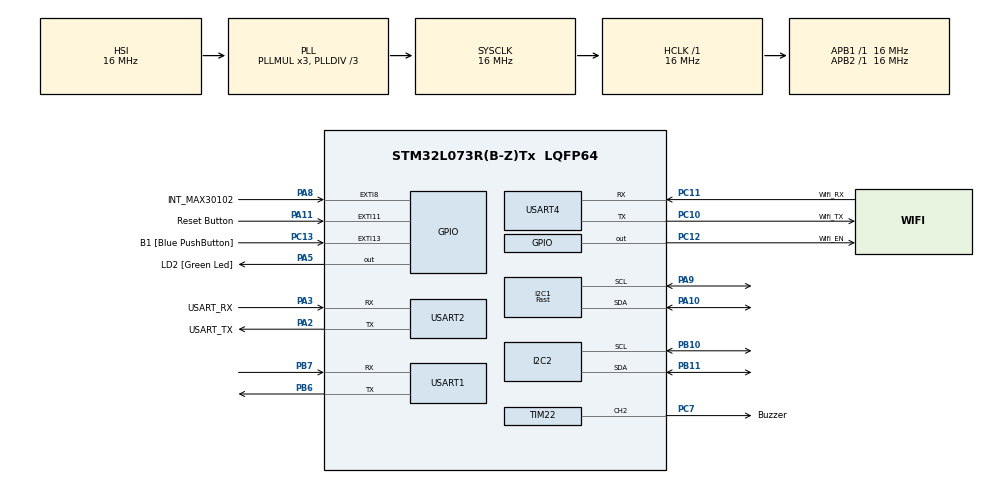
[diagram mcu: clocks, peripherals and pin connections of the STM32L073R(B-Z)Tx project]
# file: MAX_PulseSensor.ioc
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I2C1.I2C_Speed_Mode=I2C_Fast
I2C1.Timing=0x00300617
I2C2.Timing=0x00503D58
Mcu.Family=STM32L0
Mcu.Name=STM32L073R(B-Z)Tx
Mcu.Package=LQFP64
NVIC.EXTI4_15_IRQn=true\:0\:0\:false\:false\:true\:true\:true\:true
PA10.Mode=I2C
PA10.Signal=I2C1_SDA
PA11.GPIO_Label=Reset Button
PA11.GPIO_ModeDefaultEXTI=GPIO_MODE_IT_FALLING
PA11.GPIO_PuPd=GPIO_PULLUP
PA11.Signal=GPXTI11
PA13.GPIO_Label=TMS
PA13.Mode=Serial_Wire
PA13.Signal=SYS_SWDIO
PA14.GPIO_Label=TCK
PA14.Mode=Serial_Wire
PA14.Signal=SYS_SWCLK
PA2.GPIO_Label=USART_TX
PA2.Mode=Asynchronous
PA2.Signal=USART2_TX
PA3.GPIO_Label=USART_RX
PA3.Mode=Asynchronous
PA3.Signal=USART2_RX
PA5.GPIO_Label=LD2 [Green Led]
PA5.Signal=GPIO_Output
PA8.GPIO_Label=INT_MAX30102
PA8.GPIO_ModeDefaultEXTI=GPIO_MODE_IT_FALLING
PA8.GPIO_PuPd=GPIO_PULLUP
PA8.Signal=GPXTI8
PA9.Mode=I2C
PA9.Signal=I2C1_SCL
PB10.Mode=I2C
PB10.Signal=I2C2_SCL
PB11.Mode=I2C
PB11.Signal=I2C2_SDA
PB6.Mode=Asynchronous
PB6.Signal=USART1_TX
PB7.Mode=Asynchronous
PB7.Signal=USART1_RX
PC10.GPIO_Label=Wifi_TX
PC10.Mode=Asynchronous
PC10.Signal=USART4_TX
PC11.GPIO_Label=Wifi_RX
PC11.Mode=Asynchronous
PC11.Signal=USART4_RX
PC12.GPIO_Label=Wifi_EN
PC12.Signal=GPIO_Output
PC13.GPIO_Label=B1 [Blue PushButton]
PC13.GPIO_ModeDefaultEXTI=GPIO_MODE_IT_FALLING
PC13.Signal=GPXTI13
PC14-OSC32_IN.Mode=LSE-External-Oscillator
PC14-OSC32_IN.Signal=RCC_OSC32_IN
PC15-OSC32_OUT.Mode=LSE-External-Oscillator
PC15-OSC32_OUT.Signal=RCC_OSC32_OUT
PC7.GPIO_Label=Buzzer
PC7.Signal=S_TIM22_CH2
PH0-OSC_IN.GPIO_Label=MCO
PH0-OSC_IN.Mode=HSE-External-Clock-Source
PH0-OSC_IN.Signal=RCC_OSC_IN
ProjectManager.HeapSize=0x200
ProjectManager.StackSize=0x400
ProjectManager.TargetToolchain=STM32CubeIDE
RCC.AHBFreq_Value=16000000
RCC.APB1Freq_Value=16000000
RCC.APB1TimFreq_Value=16000000
RCC.APB2Freq_Value=16000000
RCC.APB2TimFreq_Value=16000000
RCC.HCLKFreq_Value=16000000
RCC.HSE_VALUE=8000000
RCC.HSI16_VALUE=16000000
RCC.HSI48_VALUE=48000000
RCC.HSI_VALUE=16000000
RCC.MSI_VALUE=2097000
RCC.PLLDIV=RCC_PLLDIV_3
RCC.SYSCLKFreq_VALUE=16000000
RCC.SYSCLKSource=RCC_SYSCLKSOURCE_PLLCLK
RCC.VCOOutputFreq_Value=48000000
SH.S_TIM22_CH2.0=TIM22_CH2,PWM Generation2 CH2
TIM22.Channel-PWM\ Generation2\ CH2=TIM_CHANNEL_2
TIM22.Period=499
TIM22.Prescaler=15
USART1.VirtualMode-Asynchronous=VM_ASYNC
USART2.VirtualMode-Asynchronous=VM_ASYNC
USART4.VirtualMode-Asynchronous=VM_ASYNC
board=NUCLEO-L073RZ

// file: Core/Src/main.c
/* USER CODE BEGIN Header */
/**
  ******************************************************************************
  * @file           : main.c
  * @brief          : Main program body
  ******************************************************************************
  * @attention
  *
  * Copyright (c) 2026 STMicroelectronics.
  * All rights reserved.
  *
  * This software is licensed under terms that can be found in the LICENSE file
  * in the root directory of this software component.
  * If no LICENSE file comes with this software, it is provided AS-IS.
  *
  ******************************************************************************
  */
/* USER CODE END Header */
#include "main.h"
#include "max30102_for_stm32_hal.h"
#include <stdio.h>
#include "ssd1306.h"
#include "ssd1306_fonts.h"
#include "ssd1306_conf.h"
#include <string.h>

I2C_HandleTypeDef hi2c1;
I2C_HandleTypeDef hi2c2;

TIM_HandleTypeDef htim22;

UART_HandleTypeDef huart1;
UART_HandleTypeDef huart2;
UART_HandleTypeDef huart4;

/* USER CODE BEGIN PV */
max30102_t max30102;
volatile uint32_t g_ir_value = 0;
volatile uint32_t g_red_value = 0;
volatile uint8_t g_new_sample = 0;
uint8_t contact_present = 0;
uint8_t contact_present_prev = 0;
/* latch for pulse */
uint8_t pulse_latched = 0;
/* DC tracking */
uint32_t ir_baseline = 0;
uint32_t red_baseline = 0;
/* raw IR AC components */
int32_t ac_prev2 = 0;
int32_t ac_prev1 = 0;
int32_t ac_curr  = 0;
/* filtered IR AC components */
int32_t ac_filt = 0;
int32_t ac_filt_prev2 = 0;
int32_t ac_filt_prev1 = 0;
int32_t ac_filt_curr  = 0;
/* raw RED AC */
int32_t red_ac_curr = 0;
/* filtered RED AC */
int32_t red_ac_filt = 0;
int32_t red_ac_filt_curr = 0;
/* average AC magnitude for dynamic threshold */
uint32_t ac_abs_avg = 0;
uint32_t red_ac_abs_avg = 0;
int32_t valley_threshold = 120;
uint16_t settle_count = 0;
uint32_t last_beat_time_ms = 0;
uint32_t beat_interval_ms = 0;
uint32_t mean_beat_interval_ms = 0;
uint8_t bpm_inst = 0;
uint8_t bpm_avg = 0;

/* Accumulators for true overall average */
uint32_t total_bpm_sum = 0;
uint16_t total_beat_count = 0;

/* Variables to track boundaries and consecutive readings */
uint8_t reached_70_bpm = 0;
uint8_t consecutive_low_count = 0;
uint8_t consecutive_high_count = 0;

/* Fast recovery timer */
uint32_t recovery_timer_ms = 0;

/* averaging buffer */
uint8_t bpm_hist[8] = {0};
uint8_t bpm_hist_idx = 0;
uint8_t bpm_hist_count = 0;
/* beat-based SpO2, scaled by 10 */
uint16_t spo2_x10 = 0;
/* beat window accumulation */
uint32_t beat_ir_sum = 0;
uint32_t beat_red_sum = 0;
uint16_t beat_sample_count = 0;
uint32_t beat_ir_min = 0xFFFFFFFFU;
uint32_t beat_ir_max = 0U;
uint32_t beat_red_min = 0xFFFFFFFFU;
uint32_t beat_red_max = 0U;
/* lcd displayer */
uint8_t oled_ok = 0;
uint32_t oled_last_update_ms = 0;
/* bpm images interval */
uint8_t ecg_state = 0;
uint32_t ecg_last_toggle_ms = 0;
uint32_t ecg_interval_ms = 500;
/* --- Pulse test state machine --- */
typedef enum
{
    TEST_OFF = 0,
    TEST_RUNNING,
    TEST_SHOW_FINAL_RESULT, /* Added state to show result before WiFi */
    TEST_DONE,
    TEST_WIFI_INIT,
    TEST_WIFI_SENDING
} pulse_test_state_t;
pulse_test_state_t test_state = TEST_OFF;
uint32_t test_start_ms = 0;
#define PULSE_TEST_DURATION_MS 30000U   /* 30 seconds */
/* future button flag (for now simulate) */
volatile uint8_t btn_pressed = 0;

/* Buzzer PWM on TIM22_CH2 / PC7 */
uint8_t buzzer_on = 0;
uint32_t buzzer_last_beat_ms = 0;
uint32_t buzzer_on_start_ms = 0;

#define BUZZER_PULSE_MS   50U
#define BUZZER_PWM_DUTY   250U   /* 50% duty when ARR = 499 */

/* =========================
 * Buzzer melody / BPM logic
 * ========================= */

typedef enum
{
    BUZZER_IDLE = 0,
    BUZZER_MELODY_START,
    BUZZER_RUNNING_BPM,
	BUZZER_END_BEEP,
    BUZZER_MELODY_FINISH
} buzzer_mode_t;

typedef struct
{
    uint16_t freq_hz;
    uint16_t duration_ms;
} buzzer_note_t;

buzzer_mode_t buzzer_mode = BUZZER_IDLE;

uint32_t buzzer_step_start_ms = 0;
uint8_t buzzer_note_index = 0;

uint32_t buzzer_bpm_last_ms = 0;
uint32_t buzzer_bpm_on_start_ms = 0;
uint8_t buzzer_bpm_on = 0;
uint32_t buzzer_beep_start_ms = 0;

/* Für Elise opening motif, shortened */
const buzzer_note_t fur_elise_start[] =
{
    {659, 160},   /* E5  */
    {0,   40},
    {622, 160},   /* D#5 */
    {0,   40},
    {659, 160},   /* E5  */
    {0,   40},
    {622, 160},   /* D#5 */
    {0,   40},
    {659, 160},   /* E5  */
    {0,   40},
    {494, 160},   /* B4  */
    {0,   40},
    {587, 160},   /* D5  */
    {0,   40},
    {523, 160},   /* C5  */
    {0,   40},
    {440, 300}    /* A4  */
};

#define FUR_ELISE_NOTE_COUNT  (sizeof(fur_elise_start) / sizeof(fur_elise_start[0]))
#define BUZZER_BPM_TONE_HZ    2000U

/* USER CODE END PV */

void SystemClock_Config(void);
static void MX_GPIO_Init(void);
static void MX_I2C1_Init(void);
static void MX_USART2_UART_Init(void);
static void MX_I2C2_Init(void);
static void MX_USART1_UART_Init(void);
static void MX_TIM22_Init(void);
static void MX_USART4_UART_Init(void);
/* USER CODE BEGIN PFP */
void OLED_DrawFlatLine(void);
void OLED_DrawPulseLine(void);
void Pulse_Reset(void);

void Buzzer_Off(void);
void Buzzer_SetToneHz(uint32_t freq_hz);
void Buzzer_StartMelodyStart(void);
void Buzzer_StartRunningBpm(void);

void Buzzer_StartEndBeep(void);
void Buzzer_StartMelodyFinish(void);
void Buzzer_Task(void);

/* USER CODE END PFP */

/* USER CODE BEGIN 0 */
extern UART_HandleTypeDef huart4; // USART4 Handle from CubeMX

// --- Wi-Fi & Adafruit Configuration ---
#define WIFI_SSID "YOUR_WIFI_SSID"
#define WIFI_PASS "YOUR_WIFI_PASSWORD"
#define AIO_USERNAME "YOUR_AIO_USERNAME"
#define AIO_KEY "YOUR_AIO_KEY"
#define AIO_FEED_BPM "heartrate" // Replace with your exact feed name

#define ESP_EN_PORT GPIOC
#define ESP_EN_PIN GPIO_PIN_12

char rx_buffer[500];

// Blocking AT command function
uint8_t ESP_SendCommand(char* command, char* expected_response, uint32_t timeout) {
    memset(rx_buffer, 0, sizeof(rx_buffer));
    HAL_UART_Transmit(&huart4, (uint8_t*)command, strlen(command), 100);

    uint32_t start_time = HAL_GetTick();
    uint16_t rx_idx = 0;
    uint8_t temp_char;

    // The CPU gets trapped in this while loop until it gets "OK" or times out
    while ((HAL_GetTick() - start_time) < timeout) {

        // ---> FEEDING THE BUZZER <---
        // Calling this here allows the buzzer logic to check the clock
        // and toggle the hardware timer pins even while waiting for Wi-Fi.
        Buzzer_Task();

        if (HAL_UART_Receive(&huart4, &temp_char, 1, 10) == HAL_OK) {
            if (rx_idx < sizeof(rx_buffer) - 1) {
                rx_buffer[rx_idx++] = temp_char;
                if (strstr(rx_buffer, expected_response) != NULL) {
                    return 1; // Success
                }
            }
        }
    }
    return 0; // Timeout
}
void ESP_PowerOff(void) {
    HAL_GPIO_WritePin(ESP_EN_PORT, ESP_EN_PIN, GPIO_PIN_RESET);
}

void ESP_PowerOn(void) {
    HAL_GPIO_WritePin(ESP_EN_PORT, ESP_EN_PIN, GPIO_PIN_SET);
    HAL_Delay(1500); // Boot-up time for ESP
}
int __io_putchar(int ch)
{
    HAL_UART_Transmit(&huart2, (uint8_t *)&ch, 1, HAL_MAX_DELAY);
    return ch;
}
/* USER CODE END 0 */

int main(void)
{

  /* MCU Configuration--------------------------------------------------------*/

  /* Reset of all peripherals, Initializes the Flash interface and the Systick. */

	HAL_Init();

  /* Configure the system clock */
  SystemClock_Config();

  /* Initialize all configured peripherals */
  MX_GPIO_Init();
  MX_I2C1_Init();
  MX_USART2_UART_Init();
  MX_I2C2_Init();
  MX_USART1_UART_Init();
  MX_TIM22_Init();
  MX_USART4_UART_Init();
  /* USER CODE BEGIN 2 */
  // printf("System start\r\n");
  max30102_init(&max30102, &hi2c1);
  max30102_reset(&max30102);
  HAL_Delay(100);
  max30102_clear_fifo(&max30102);
  max30102_set_fifo_config(&max30102, max30102_smp_ave_8, 1, 7);
  max30102_set_led_pulse_width(&max30102, max30102_pw_16_bit);
  max30102_set_adc_resolution(&max30102, max30102_adc_2048);
  max30102_set_sampling_rate(&max30102, max30102_sr_100);
  /* moderate LED current: stronger than 0.8 mA, still far below the old value */
  max30102_set_led_current_1(&max30102, 4.0f);   /* RED */
  max30102_set_led_current_2(&max30102, 4.0f);   /* IR  */
  max30102_set_mode(&max30102, max30102_spo2);
  max30102_set_a_full(&max30102, 1);
  max30102_set_die_temp_en(&max30102, 1);
  max30102_set_die_temp_rdy(&max30102, 1);

  // printf("OLED init start\r\n");
  if (HAL_I2C_IsDeviceReady(&SSD1306_I2C_PORT, SSD1306_I2C_ADDR, 3, 100) == HAL_OK)
  {
      // printf("OLED found at address 0x%02X\r\n", SSD1306_I2C_ADDR >> 1);
      ssd1306_Init();

      ssd1306_Fill(Black);
      ssd1306_SetCursor(0, 0);
      ssd1306_WriteString("HELLO WORLD", Font_7x10, White);

      ssd1306_SetCursor(0, 16);
      ssd1306_WriteString("OLED OK", Font_7x10, White);

      ssd1306_UpdateScreen();

      oled_ok = 1;
  }
  else
  {
      // printf("OLED not found\r\n");
      oled_ok = 0;
  }
  // printf("MAX30102 configured\r\n");

  /* TEST starts only by button */
  test_state = TEST_OFF;
  Pulse_Reset();
  // printf("TEST READY - PRESS BUTTON\r\n");
  /*Buzzer_StartMelodyStart();*/

  HAL_TIM_PWM_Start(&htim22, TIM_CHANNEL_2);
  __HAL_TIM_SET_COMPARE(&htim22, TIM_CHANNEL_2, 0);

  /* USER CODE END 2 */

  /* Infinite loop */
  while (1)
  {

    /* USER CODE BEGIN 3 */
    /* TEMP: simulate button every few seconds */

	  static uint32_t btn_dbg_last_ms = 0;

	  	  if ((HAL_GetTick() - btn_dbg_last_ms) >= 500U)
	  	  {
	  	      btn_dbg_last_ms = HAL_GetTick();
	  	  }

	  	  if (btn_pressed)
	  	  {
	  	      btn_pressed = 0;

	  	      if ((test_state == TEST_OFF) || (test_state == TEST_DONE))
	  	      {
	  	          test_state = TEST_RUNNING;
	  	          test_start_ms = 0; /* CHANGED: Initialize to 0, wait for valid BPM */
	  	          Pulse_Reset();
	  	          // printf("TEST START BY BUTTON\r\n");
	  	          Buzzer_StartMelodyStart();
	  	      }
	  	      else
	  	      {
	  	          test_state = TEST_OFF;
	  	          Pulse_Reset();
	  	          // printf("TEST STOP BY BUTTON\r\n");
	  	          buzzer_mode = BUZZER_IDLE;
	  	          Buzzer_Off();
	                ESP_PowerOff(); // Ensure Wi-Fi dies if aborted
	  	      }
	  	  }

	  	  if (test_state == TEST_RUNNING)
	  	  {
	  	      /* CHANGED: Start the 30-second timer ONLY on the first valid reading */
	  	      if ((test_start_ms == 0) && (bpm_avg > 0))
	  	      {
	  	          test_start_ms = HAL_GetTick();
	  	      }

	  	      /* CHANGED: Ensure test_start_ms isn't 0 before checking duration */
	  	      if ((test_start_ms != 0) && ((HAL_GetTick() - test_start_ms) >= PULSE_TEST_DURATION_MS))
	  	      {
                  // OVERWRITE EMA WITH TRUE MATHEMATICAL AVERAGE AT TEST END
                  if (total_beat_count > 0)
                  {
                      bpm_avg = (uint8_t)(total_bpm_sum / total_beat_count);
                  }

	  	          if (bpm_avg > 0)
	  	          {
                      /* Change state to show the result on the LCD before starting WiFi */
	  	              test_state = TEST_SHOW_FINAL_RESULT;
                      test_start_ms = HAL_GetTick(); // Reuse test_start_ms as a delay timer

	  	              if (spo2_x10 > 0)
	  	              {
	  	                  // printf("TEST DONE True Avg BPM=%u SpO2=%u.%u%%\r\n", bpm_avg, spo2_x10 / 10U, spo2_x10 % 10U);
	  	              }
                      else
                      {
                          // printf("TEST DONE True Avg BPM=%u SpO2=--.-%%\r\n", bpm_avg);
                      }

                      /* Play the Fur Elise melody instead of the high-pitched beep */
	  	              Buzzer_StartMelodyFinish();
	  	          }
	  	          else
	  	          {
	  	              test_state = TEST_DONE;
	  	              // printf("TEST DONE NO VALID BPM\r\n");
	  	              Buzzer_StartMelodyFinish();
	  	          }
	  	      }
	  	  }
          else if (test_state == TEST_SHOW_FINAL_RESULT)
          {
              /* Wait 5 seconds displaying the final results on OLED before turning on WiFi */
              if ((HAL_GetTick() - test_start_ms) >= 5000U)
              {
                  test_state = TEST_WIFI_INIT;
              }
          }

	        /* --- Wi-Fi State Machine --- */
	        if (test_state == TEST_WIFI_INIT)
	        {
	            printf("Turning on Wi-Fi...\r\n");

	            ESP_PowerOn();

	            ESP_SendCommand("AT\r\n", "OK", 2000);
	            ESP_SendCommand("AT+CWMODE=1\r\n", "OK", 2000);
                ESP_SendCommand("AT+CIPSNTPCFG=1,2,\"pool.ntp.org\"\r\n", "OK", 2000);

	            char cmd[100];
	            snprintf(cmd, sizeof(cmd), "AT+CWJAP=\"%s\",\"%s\"\r\n", WIFI_SSID, WIFI_PASS);
	            printf("Connecting to AP...\r\n");
	            if(ESP_SendCommand(cmd, "OK", 10000)) {
	                printf("Wi-Fi Connected!\r\n");
	                test_state = TEST_WIFI_SENDING;
	            } else {
	                printf("Wi-Fi Connection Failed.\r\n");
	                ESP_PowerOff();
	                test_state = TEST_DONE;
	            }
	        }

	        else if (test_state == TEST_WIFI_SENDING)
	        {
	            printf("Sending to Adafruit...\r\n");

	            char payload[100];
	            snprintf(payload, sizeof(payload), "{\"value\": \"Avg Heartrate: %u, SpO2: %u.%u%%\"}", bpm_avg, spo2_x10 / 10U, spo2_x10 % 10U);

	            char http_req[350];
	            snprintf(http_req, sizeof(http_req),
	                     "POST /api/v2/%s/feeds/%s/data HTTP/1.1\r\n"
	                     "Host: io.adafruit.com\r\n"
	                     "X-AIO-Key: %s\r\n"
	                     "Content-Type: application/json\r\n"
	                     "Content-Length: %d\r\n\r\n"
	                     "%s",
	                     AIO_USERNAME, AIO_FEED_BPM, AIO_KEY, strlen(payload), payload);

	            ESP_SendCommand("AT+CIPSTART=\"TCP\",\"io.adafruit.com\",80\r\n", "OK", 5000);

	            char cip_cmd[30];
	            snprintf(cip_cmd, sizeof(cip_cmd), "AT+CIPSEND=%d\r\n", strlen(http_req));
	            if (ESP_SendCommand(cip_cmd, ">", 2000))
	            {
	                if (ESP_SendCommand(http_req, "SEND OK", 5000)) {
	                    printf("Data sent successfully to Adafruit!\r\n");
	                }
	            }

	            ESP_SendCommand("AT+CIPCLOSE\r\n", "OK", 2000);
	            ESP_PowerOff();
	            printf("Wi-Fi off. Idling.\r\n");

	            test_state = TEST_DONE;
	        }

	      /* OLED periodic BPM / SpO2 display */
	      if ((oled_ok == 1) && ((HAL_GetTick() - oled_last_update_ms) >= 250U))
	      {
	          char line[24];

	          oled_last_update_ms = HAL_GetTick();

	          if (bpm_avg > 0)
	          {
	              ecg_interval_ms = 60000U / bpm_avg / 2U;
	              if (ecg_interval_ms < 120U) ecg_interval_ms = 120U;

	              if ((HAL_GetTick() - ecg_last_toggle_ms) >= ecg_interval_ms)
	              {
	                  ecg_last_toggle_ms = HAL_GetTick();
	                  ecg_state = !ecg_state;
	              }
	          }
	          else { ecg_state = 0; }

	          ssd1306_Fill(Black);
	          ssd1306_SetCursor(0, 0);

	          /* Updated OLED Status Text */
	          if (test_state == TEST_OFF) { ssd1306_WriteString("TEST OFF", Font_7x10, White); }
	          else if (test_state == TEST_RUNNING) { ssd1306_WriteString("TEST RUNNING", Font_7x10, White); }
              else if (test_state == TEST_SHOW_FINAL_RESULT) { ssd1306_WriteString("TEST DONE", Font_7x10, White); }
	          else if (test_state == TEST_WIFI_INIT) { ssd1306_WriteString("WIFI CONNECTING", Font_7x10, White); }
	          else if (test_state == TEST_WIFI_SENDING) { ssd1306_WriteString("SENDING DATA", Font_7x10, White); }
	          else { ssd1306_WriteString("TEST DONE", Font_7x10, White); }

	          ssd1306_SetCursor(0, 14);
	          if (test_state == TEST_OFF) { ssd1306_WriteString("Press START", Font_7x10, White); }
	          else if (test_state == TEST_DONE || test_state == TEST_SHOW_FINAL_RESULT) { ssd1306_WriteString("Final result", Font_7x10, White); }
	          else if (test_state == TEST_WIFI_INIT || test_state == TEST_WIFI_SENDING) { ssd1306_WriteString("Please Wait...", Font_7x10, White); }
	          else
	          {
	              if (contact_present == 0) { ssd1306_WriteString("No contact", Font_7x10, White); }
	              else { ssd1306_WriteString("Contact OK", Font_7x10, White); }
	          }

	          ssd1306_SetCursor(0, 28);
	          if (bpm_avg > 0)
	          {
	              snprintf(line, sizeof(line), "BPM: %u", bpm_avg);
	              ssd1306_WriteString(line, Font_7x10, White);
	          }
	          else { ssd1306_WriteString("BPM: --", Font_7x10, White); }

	          ssd1306_SetCursor(64, 28);
	          if (spo2_x10 > 0)
	          {
	              snprintf(line, sizeof(line), "SpO2:%u.%u%%", spo2_x10 / 10U, spo2_x10 % 10U);
	              ssd1306_WriteString(line, Font_7x10, White);
	          }
	          else { ssd1306_WriteString("SpO2:--.-%", Font_7x10, White); }

	          /* ECG image area: y = 34..63 */
	          if ((contact_present == 1) && (bpm_avg > 0) && (ecg_state == 1) && (test_state == TEST_RUNNING))
	          {
	              OLED_DrawPulseLine();
	          }
	          else
	          {
	              OLED_DrawFlatLine();
	          }

	          ssd1306_UpdateScreen();
	      }

	      /* Buzzer melody / BPM handler */
	      Buzzer_Task();

	      /* MAX30102 handling */
	      max30102_interrupt_handler(&max30102);

	      /* Keep the rest of your MAX30102 logic exactly as it is below this line */
	      if (g_new_sample && (test_state == TEST_RUNNING))
	      {
	      	uint32_t now_ms;
	      	uint8_t i;
	      	uint32_t ac_abs;
	      	uint32_t red_ac_abs;

	          g_new_sample = 0;

	          /* Contact detection with hysteresis + AND logic */
	          if (!contact_present)
	          {
	              if ((g_ir_value > 18000) && (g_red_value > 15000))
	              {
	                  contact_present = 1;
	              }
	          }
	          else
	          {
	              if ((g_ir_value < 9000) && (g_red_value < 7000))
	              {
	                  contact_present = 0;
	              }
	          }

	          /* Detect transition: no contact -> contact */
	          if ((contact_present == 1) && (contact_present_prev == 0))
	          {
	              ir_baseline = g_ir_value;
	              red_baseline = g_red_value;

	              ac_prev2 = 0;
	              ac_prev1 = 0;
	              ac_curr  = 0;

	              ac_filt = 0;
	              ac_filt_prev2 = 0;
	              ac_filt_prev1 = 0;
	              ac_filt_curr  = 0;

	              red_ac_curr = 0;
	              red_ac_filt = 0;
	              red_ac_filt_curr = 0;

	              ac_abs_avg = 0;
	              red_ac_abs_avg = 0;
	              valley_threshold = 120;

	              settle_count = 0;

	              last_beat_time_ms = 0;
	              beat_interval_ms = 0;
	              mean_beat_interval_ms = 0;

	              bpm_inst = 0;
	              bpm_avg = 0;
	              spo2_x10 = 0;

                  total_bpm_sum = 0;
                  total_beat_count = 0;
                  reached_70_bpm = 0; // Reset condition on new contact
                  consecutive_low_count = 0; // Reset counts on new contact
                  consecutive_high_count = 0;
                  recovery_timer_ms = HAL_GetTick(); // Start the recovery timer

	              bpm_hist_idx = 0;
	              bpm_hist_count = 0;

	              pulse_latched = 0;

	              /* reset beat window */
	              beat_ir_sum = 0;
	              beat_red_sum = 0;
	              beat_sample_count = 0;
	              beat_ir_min = 0xFFFFFFFFU;
	              beat_ir_max = 0U;
	              beat_red_min = 0xFFFFFFFFU;
	              beat_red_max = 0U;

	              for (i = 0; i < 8; i++)
	              {
	                  bpm_hist[i] = 0;
	              }
	          }

	          contact_present_prev = contact_present;

	          /* No contact */
	          if (!contact_present)
	          {
	              pulse_latched = 0;
	              bpm_avg = 0;
	              spo2_x10 = 0;

                  total_bpm_sum = 0;
                  total_beat_count = 0;

	              /* reset beat window */
	              beat_ir_sum = 0;
	              beat_red_sum = 0;
	              beat_sample_count = 0;
	              beat_ir_min = 0xFFFFFFFFU;
	              beat_ir_max = 0U;
	              beat_red_min = 0xFFFFFFFFU;
	              beat_red_max = 0U;

	              // printf("IR=%lu RED=%lu No contact\r\n", g_ir_value, g_red_value);
	          }
	          else
	          {
	              /* Slow DC baseline tracking */
	              ir_baseline  = (127 * ir_baseline  + g_ir_value)  / 128;
	              red_baseline = (127 * red_baseline + g_red_value) / 128;

	              /* Raw IR AC */
	              ac_prev2 = ac_prev1;
	              ac_prev1 = ac_curr;
	              ac_curr  = (int32_t)g_ir_value - (int32_t)ir_baseline;

	              /* Raw RED AC */
	              red_ac_curr = (int32_t)g_red_value - (int32_t)red_baseline;

	              /* Integer IIR low-pass on IR AC */
	              ac_filt = (ac_filt + ac_curr) / 2;

	              ac_filt_prev2 = ac_filt_prev1;
	              ac_filt_prev1 = ac_filt_curr;
	              ac_filt_curr  = ac_filt;

	              /* Integer IIR low-pass on RED AC */
	              red_ac_filt = (3 * red_ac_filt + red_ac_curr) / 4;
	              red_ac_filt_curr = red_ac_filt;

	              /* Average absolute filtered AC magnitude */
	              ac_abs = (ac_filt_curr >= 0) ? (uint32_t)ac_filt_curr : (uint32_t)(-ac_filt_curr);
	              red_ac_abs = (red_ac_filt_curr >= 0) ? (uint32_t)red_ac_filt_curr : (uint32_t)(-red_ac_filt_curr);

	              ac_abs_avg = (7 * ac_abs_avg + ac_abs) / 8;
	              red_ac_abs_avg = (7 * red_ac_abs_avg + red_ac_abs) / 8;

	              /* accumulate current beat window for beat-based SpO2 */
	              beat_ir_sum += g_ir_value;
	              beat_red_sum += g_red_value;
	              beat_sample_count++;

	              if (g_ir_value < beat_ir_min)
	              {
	                  beat_ir_min = g_ir_value;
	              }
	              if (g_ir_value > beat_ir_max)
	              {
	                  beat_ir_max = g_ir_value;
	              }

	              if (g_red_value < beat_red_min)
	              {
	                  beat_red_min = g_red_value;
	              }
	              if (g_red_value > beat_red_max)
	              {
	                  beat_red_max = g_red_value;
	              }

	              /* Dynamic threshold */
                  /* RESTORED: Restored threshold divider to 4U (25%) to ignore ripples */
	              valley_threshold = (int32_t)(ac_abs_avg / 4U);

                  /* RESTORED: Restored absolute floor to 25 to ignore false noise spikes */
	              if (valley_threshold < 25)
	              {
	                  valley_threshold = 25;
	              }

	              if (valley_threshold > 500)
	              {
	                  valley_threshold = 500;
	              }

                  /* FAST RECOVERY MECHANISM */
                  // If the baseline filter stays huge for more than 1.5 seconds, the finger placement caused a massive spike.
                  // Hard reset the baseline math so it recovers instantly instead of counting down for 10 seconds.
                  if (ac_filt_curr > 4000)
                  {
                      if ((HAL_GetTick() - recovery_timer_ms) > 1500U)
                      {
                          // printf("FAST RECOVERY TRIGGERED - Resetting baselines\r\n");

                          // Reset baselines to current actuals
                          ir_baseline = g_ir_value;
                          red_baseline = g_red_value;

                          // Flush filters
                          ac_prev2 = ac_prev1 = ac_curr = 0;
                          ac_filt = ac_filt_prev2 = ac_filt_prev1 = ac_filt_curr = 0;
                          red_ac_curr = red_ac_filt = red_ac_filt_curr = 0;

                          // Reset thresholds
                          ac_abs_avg = 0;
                          red_ac_abs_avg = 0;
                          valley_threshold = 50;

                          // Reset the recovery timer
                          recovery_timer_ms = HAL_GetTick();
                      }
                  }
                  else
                  {
                      // If the filter is normal, keep resetting the timer
                      recovery_timer_ms = HAL_GetTick();
                  }

	              /* Settling phase - shortened */
	              if (settle_count < 3)
	              {
	                  settle_count++;
	                  // printf("IR=%lu RED=%lu AC=%ld RED_AC=%ld FILT=%ld TH=%ld settling\r\n",
	                  //        g_ir_value,
	                  //        g_red_value,
	                  //        (long)ac_curr,
	                  //        (long)red_ac_curr,
	                  //        (long)ac_filt_curr,
	                  //        (long)valley_threshold);
	              }
	              else
	              {
	                  now_ms = HAL_GetTick();

	                  /* Valley detection on FILTERED IR AC */
	                  if ((ac_filt_prev1 <= ac_filt_prev2) &&
	                      (ac_filt_prev1 <= ac_filt_curr) &&
	                      (ac_filt_prev1 < -valley_threshold))
	                  {
                        /* CHANGED: Refractory period raised to 400U (max 150 BPM).
                         * This specifically tunes out the 170+ BPM false peaks (Dicrotic Notches).
                         */
	                  	if ((last_beat_time_ms == 0) || ((now_ms - last_beat_time_ms) > 400U))
	                      {
	                          if (last_beat_time_ms != 0)
	                          {
	                              beat_interval_ms = now_ms - last_beat_time_ms;
	                              bpm_inst = (uint8_t)(60000U / beat_interval_ms);

	                              if ((bpm_inst >= 55) && (bpm_inst <= 120))
	                              {
                                      /* Track if we have ever hit >= 70 bpm in this test */
                                      if (bpm_inst >= 70)
                                      {
                                          reached_70_bpm = 1;
                                      }

                                      uint8_t accept_beat = 0;

                                      /* Upper bound check (85 +- 5 = 80 to 90) */
                                      if (bpm_inst >= 85 && bpm_inst <= 95)
                                      {
                                          consecutive_high_count++;
                                          consecutive_low_count = 0;
                                          if (consecutive_high_count >= 3)
                                          {
                                              accept_beat = 1;
                                          }
                                      }
                                      /* Lower bound check (only applies if we already hit 70) (62+-4=62 to 66) */
                                      else if (reached_70_bpm && (bpm_inst >= 60 && bpm_inst <= 66))
                                      {
                                          consecutive_low_count++;
                                          consecutive_high_count = 0;
                                          if (consecutive_low_count >= 3)
                                          {
                                              accept_beat = 1;
                                          }
                                      }
                                      /* Normal valid reading */
                                      else
                                      {
                                          consecutive_high_count = 0;
                                          consecutive_low_count = 0;
                                          accept_beat = 1;
                                      }

                                      if (accept_beat)
                                      {
                                          /* Accumulate for true final average */
                                          total_bpm_sum += bpm_inst;
                                          total_beat_count++;

	                              	      /* EMA on beat interval, not on BPM */
	                              	      if (mean_beat_interval_ms == 0U)
	                              	      {
	                              	          mean_beat_interval_ms = beat_interval_ms;
	                              	      }
	                              	      else
	                              	      {
	                              	          mean_beat_interval_ms =
	                              	              (mean_beat_interval_ms + beat_interval_ms) / 2U;
	                              	      }

	                              	      bpm_avg = (uint8_t)(60000U / mean_beat_interval_ms);

	                              	      // printf("BEAT interval=%lu bpm_inst=%u bpm_avg=%u mean_interval=%lu FILT=%ld TH=%ld\r\n",
	                              	      //        beat_interval_ms,
	                              	      //        bpm_inst,
	                              	      //        bpm_avg,
	                              	      //        mean_beat_interval_ms,
	                              	      //        (long)ac_filt_curr,
	                              	      //        (long)valley_threshold);

	                              	      if (bpm_avg > 0)
	                              	      {
	                              	          pulse_latched = 1;
	                              	      }

	                                        /* beat-based SpO2 calculation */
	                                        if ((beat_sample_count > 5U) &&
	                                            (beat_ir_max > beat_ir_min) &&
	                                            (beat_red_max > beat_red_min))
	                                        {
	                                        	uint32_t ir_dc;
	                                        	    uint32_t red_dc;
	                                        	    uint32_t ir_ac_pp;
	                                        	    uint32_t red_ac_pp;
	                                        	    uint64_t numerator;       /* CHANGED: Upgraded to 64-bit to prevent overflow */
	                                        	    uint32_t denominator;
	                                        	    uint32_t r_x1000;
	                                        	    uint16_t new_spo2_x10;

	                                        	    ir_dc = beat_ir_sum / beat_sample_count;
	                                        	    red_dc = beat_red_sum / beat_sample_count;

	                                        	    ir_ac_pp = beat_ir_max - beat_ir_min;
	                                        	    red_ac_pp = beat_red_max - beat_red_min;

	                                        	    if ((ir_dc > 0U) &&
	                                        	        (red_dc > 0U) &&
	                                        	        (ir_ac_pp > 20U) &&
	                                        	        (red_ac_pp > 10U))
	                                        	    {
	                                        	        /* CHANGED: Cast variables to uint64_t during multiplication */
	                                        	        numerator = (uint64_t)red_ac_pp * (uint64_t)ir_dc * 1000ULL;
	                                        	        denominator = ir_ac_pp * red_dc;

	                                        	        if (denominator > 0U)
	                                        	        {
	                                        	            /* Cast back to 32-bit after the division scales it down */
	                                        	            r_x1000 = (uint32_t)(numerator / (uint64_t)denominator);

	                                        	            if ((r_x1000 > 200U) && (r_x1000 < 1400U))
	                                        	            {
	                                        	                /* CHANGED: Updated to Maxim's standard SpO2 formula: 104 - 17*R */
	                                        	                /* 1040 - (17 * r_x1000 / 100) -> allows one decimal place precision */
	                                        	            	new_spo2_x10 = (uint16_t)(1120U - ((16U * r_x1000) / 100U));

	                                        	                /* Cap the boundaries between 90.0% and 100.0% */
	                                        	                if (new_spo2_x10 > 1000U)
	                                        	                {
	                                        	                    new_spo2_x10 = 1000U;
	                                        	                }
	                                        	                if (new_spo2_x10 < 900U)
	                                        	                {
	                                        	                    new_spo2_x10 = 900U;
	                                        	                }

	                                        	                if (spo2_x10 == 0U)
	                                        	                {
	                                        	                    spo2_x10 = new_spo2_x10;
	                                        	                }
	                                        	                else
	                                        	                {
	                                        	                    /* IIR Filter: 75% old, 25% new */
	                                        	                    spo2_x10 = (uint16_t)((3U * spo2_x10 + new_spo2_x10) / 4U);
	                                        	                }
	                                                    }
	                                                }
	                                            }
	                                        }
                                      }

	                                  /* reset beat window for next beat even if we ignored calculating it */
	                                  beat_ir_sum = 0;
	                                  beat_red_sum = 0;
	                                  beat_sample_count = 0;
	                                  beat_ir_min = 0xFFFFFFFFU;
	                                  beat_ir_max = 0U;
	                                  beat_red_min = 0xFFFFFFFFU;
	                                  beat_red_max = 0U;
	                              }
	                          }

	                          last_beat_time_ms = now_ms;
	                      }
	                  }

	                  if (pulse_latched)
	                  {
	                      if (spo2_x10 > 0)
	                      {
	                          // printf("IR=%lu RED=%lu AC=%ld RED_AC=%ld FILT=%ld TH=%ld BPM=%u SpO2=%u.%u%% Pulse detected\r\n",
	                          //        g_ir_value,
	                          //        g_red_value,
	                          //        (long)ac_curr,
	                          //        (long)red_ac_curr,
	                          //        (long)ac_filt_curr,
	                          //        (long)valley_threshold,
	                          //        bpm_avg,
	                          //        spo2_x10 / 10U,
	                          //        spo2_x10 % 10U);
	                      }
	                      else
	                      {
	                          // printf("IR=%lu RED=%lu AC=%ld RED_AC=%ld FILT=%ld TH=%ld BPM=%u SpO2=--.-%% Pulse detected\r\n",
	                          //        g_ir_value,
	                          //        g_red_value,
	                          //        (long)ac_curr,
	                          //        (long)red_ac_curr,
	                          //        (long)ac_filt_curr,
	                          //        (long)valley_threshold,
	                          //        bpm_avg);
	                      }
	                  }
	                  else
	                  {
	                      // printf("IR=%lu RED=%lu AC=%ld RED_AC=%ld FILT=%ld TH=%ld BPM=%u Contact detected\r\n",
	                      //        g_ir_value,
	                      //        g_red_value,
	                      //        (long)ac_curr,
	                      //        (long)red_ac_curr,
	                      //        (long)ac_filt_curr,
	                      //        (long)valley_threshold,
	                      //        bpm_avg);
	                  }
	              }
	          }
	      }

	      HAL_Delay(10);
  } /* USER CODE END 3 */
}

void SystemClock_Config(void)
{
  RCC_OscInitTypeDef RCC_OscInitStruct = {0};
  RCC_ClkInitTypeDef RCC_ClkInitStruct = {0};
  RCC_PeriphCLKInitTypeDef PeriphClkInit = {0};

  /** Configure the main internal regulator output voltage
  */
  __HAL_PWR_VOLTAGESCALING_CONFIG(PWR_REGULATOR_VOLTAGE_SCALE1);

  /** Initializes the RCC Oscillators according to the specified parameters
  * in the RCC_OscInitTypeDef structure.
  */
  RCC_OscInitStruct.OscillatorType = RCC_OSCILLATORTYPE_HSI;
  RCC_OscInitStruct.HSIState = RCC_HSI_ON;
  RCC_OscInitStruct.HSICalibrationValue = RCC_HSICALIBRATION_DEFAULT;
  RCC_OscInitStruct.PLL.PLLState = RCC_PLL_ON;
  RCC_OscInitStruct.PLL.PLLSource = RCC_PLLSOURCE_HSI;
  RCC_OscInitStruct.PLL.PLLMUL = RCC_PLLMUL_3;
  RCC_OscInitStruct.PLL.PLLDIV = RCC_PLLDIV_3;
  if (HAL_RCC_OscConfig(&RCC_OscInitStruct) != HAL_OK)
  {
    Error_Handler();
  }

  /** Initializes the CPU, AHB and APB buses clocks
  */
  RCC_ClkInitStruct.ClockType = RCC_CLOCKTYPE_HCLK|RCC_CLOCKTYPE_SYSCLK
                              |RCC_CLOCKTYPE_PCLK1|RCC_CLOCKTYPE_PCLK2;
  RCC_ClkInitStruct.SYSCLKSource = RCC_SYSCLKSOURCE_PLLCLK;
  RCC_ClkInitStruct.AHBCLKDivider = RCC_SYSCLK_DIV1;
  RCC_ClkInitStruct.APB1CLKDivider = RCC_HCLK_DIV1;
  RCC_ClkInitStruct.APB2CLKDivider = RCC_HCLK_DIV1;

  if (HAL_RCC_ClockConfig(&RCC_ClkInitStruct, FLASH_LATENCY_0) != HAL_OK)
  {
    Error_Handler();
  }
  PeriphClkInit.PeriphClockSelection = RCC_PERIPHCLK_USART1|RCC_PERIPHCLK_USART2
                              |RCC_PERIPHCLK_I2C1;
  PeriphClkInit.Usart1ClockSelection = RCC_USART1CLKSOURCE_PCLK2;
  PeriphClkInit.Usart2ClockSelection = RCC_USART2CLKSOURCE_PCLK1;
  PeriphClkInit.I2c1ClockSelection = RCC_I2C1CLKSOURCE_PCLK1;
  if (HAL_RCCEx_PeriphCLKConfig(&PeriphClkInit) != HAL_OK)
  {
    Error_Handler();
  }
}

static void MX_I2C1_Init(void)
{

  hi2c1.Instance = I2C1;
  hi2c1.Init.Timing = 0x00300617;
  hi2c1.Init.OwnAddress1 = 0;
  hi2c1.Init.AddressingMode = I2C_ADDRESSINGMODE_7BIT;
  hi2c1.Init.DualAddressMode = I2C_DUALADDRESS_DISABLE;
  hi2c1.Init.OwnAddress2 = 0;
  hi2c1.Init.OwnAddress2Masks = I2C_OA2_NOMASK;
  hi2c1.Init.GeneralCallMode = I2C_GENERALCALL_DISABLE;
  hi2c1.Init.NoStretchMode = I2C_NOSTRETCH_DISABLE;
  if (HAL_I2C_Init(&hi2c1) != HAL_OK)
  {
    Error_Handler();
  }

  /** Configure Analogue filter
  */
  if (HAL_I2CEx_ConfigAnalogFilter(&hi2c1, I2C_ANALOGFILTER_ENABLE) != HAL_OK)
  {
    Error_Handler();
  }

  /** Configure Digital filter
  */
  if (HAL_I2CEx_ConfigDigitalFilter(&hi2c1, 0) != HAL_OK)
  {
    Error_Handler();
  }

}

static void MX_I2C2_Init(void)
{

  hi2c2.Instance = I2C2;
  hi2c2.Init.Timing = 0x00503D58;
  hi2c2.Init.OwnAddress1 = 0;
  hi2c2.Init.AddressingMode = I2C_ADDRESSINGMODE_7BIT;
  hi2c2.Init.DualAddressMode = I2C_DUALADDRESS_DISABLE;
  hi2c2.Init.OwnAddress2 = 0;
  hi2c2.Init.OwnAddress2Masks = I2C_OA2_NOMASK;
  hi2c2.Init.GeneralCallMode = I2C_GENERALCALL_DISABLE;
  hi2c2.Init.NoStretchMode = I2C_NOSTRETCH_DISABLE;
  if (HAL_I2C_Init(&hi2c2) != HAL_OK)
  {
    Error_Handler();
  }

  /** Configure Analogue filter
  */
  if (HAL_I2CEx_ConfigAnalogFilter(&hi2c2, I2C_ANALOGFILTER_ENABLE) != HAL_OK)
  {
    Error_Handler();
  }

  /** Configure Digital filter
  */
  if (HAL_I2CEx_ConfigDigitalFilter(&hi2c2, 0) != HAL_OK)
  {
    Error_Handler();
  }

}

static void MX_TIM22_Init(void)
{

  TIM_MasterConfigTypeDef sMasterConfig = {0};
  TIM_OC_InitTypeDef sConfigOC = {0};

  htim22.Instance = TIM22;
  htim22.Init.Prescaler = 15;
  htim22.Init.CounterMode = TIM_COUNTERMODE_UP;
  htim22.Init.Period = 499;
  htim22.Init.ClockDivision = TIM_CLOCKDIVISION_DIV1;
  htim22.Init.AutoReloadPreload = TIM_AUTORELOAD_PRELOAD_DISABLE;
  if (HAL_TIM_PWM_Init(&htim22) != HAL_OK)
  {
    Error_Handler();
  }
  sMasterConfig.MasterOutputTrigger = TIM_TRGO_RESET;
  sMasterConfig.MasterSlaveMode = TIM_MASTERSLAVEMODE_DISABLE;
  if (HAL_TIMEx_MasterConfigSynchronization(&htim22, &sMasterConfig) != HAL_OK)
  {
    Error_Handler();
  }
  sConfigOC.OCMode = TIM_OCMODE_PWM1;
  sConfigOC.Pulse = 0;
  sConfigOC.OCPolarity = TIM_OCPOLARITY_HIGH;
  sConfigOC.OCFastMode = TIM_OCFAST_DISABLE;
  if (HAL_TIM_PWM_ConfigChannel(&htim22, &sConfigOC, TIM_CHANNEL_2) != HAL_OK)
  {
    Error_Handler();
  }
  HAL_TIM_MspPostInit(&htim22);

}

static void MX_USART1_UART_Init(void)
{

  huart1.Instance = USART1;
  huart1.Init.BaudRate = 115200;
  huart1.Init.WordLength = UART_WORDLENGTH_8B;
  huart1.Init.StopBits = UART_STOPBITS_1;
  huart1.Init.Parity = UART_PARITY_NONE;
  huart1.Init.Mode = UART_MODE_TX_RX;
  huart1.Init.HwFlowCtl = UART_HWCONTROL_NONE;
  huart1.Init.OverSampling = UART_OVERSAMPLING_16;
  huart1.Init.OneBitSampling = UART_ONE_BIT_SAMPLE_DISABLE;
  huart1.AdvancedInit.AdvFeatureInit = UART_ADVFEATURE_NO_INIT;
  if (HAL_UART_Init(&huart1) != HAL_OK)
  {
    Error_Handler();
  }

}

static void MX_USART2_UART_Init(void)
{

  huart2.Instance = USART2;
  huart2.Init.BaudRate = 115200;
  huart2.Init.WordLength = UART_WORDLENGTH_8B;
  huart2.Init.StopBits = UART_STOPBITS_1;
  huart2.Init.Parity = UART_PARITY_NONE;
  huart2.Init.Mode = UART_MODE_TX_RX;
  huart2.Init.HwFlowCtl = UART_HWCONTROL_NONE;
  huart2.Init.OverSampling = UART_OVERSAMPLING_16;
  huart2.Init.OneBitSampling = UART_ONE_BIT_SAMPLE_DISABLE;
  huart2.AdvancedInit.AdvFeatureInit = UART_ADVFEATURE_NO_INIT;
  if (HAL_UART_Init(&huart2) != HAL_OK)
  {
    Error_Handler();
  }

}

static void MX_USART4_UART_Init(void)
{

  huart4.Instance = USART4;
  huart4.Init.BaudRate = 115200;
  huart4.Init.WordLength = UART_WORDLENGTH_8B;
  huart4.Init.StopBits = UART_STOPBITS_1;
  huart4.Init.Parity = UART_PARITY_NONE;
  huart4.Init.Mode = UART_MODE_TX_RX;
  huart4.Init.HwFlowCtl = UART_HWCONTROL_NONE;
  huart4.Init.OverSampling = UART_OVERSAMPLING_16;
  huart4.Init.OneBitSampling = UART_ONE_BIT_SAMPLE_DISABLE;
  huart4.AdvancedInit.AdvFeatureInit = UART_ADVFEATURE_NO_INIT;
  if (HAL_UART_Init(&huart4) != HAL_OK)
  {
    Error_Handler();
  }

}

static void MX_GPIO_Init(void)
{
  GPIO_InitTypeDef GPIO_InitStruct = {0};

  /* GPIO Ports Clock Enable */
  __HAL_RCC_GPIOC_CLK_ENABLE();
  __HAL_RCC_GPIOH_CLK_ENABLE();
  __HAL_RCC_GPIOA_CLK_ENABLE();
  __HAL_RCC_GPIOB_CLK_ENABLE();

  /*Configure GPIO pin Output Level */
  HAL_GPIO_WritePin(LD2_GPIO_Port, LD2_Pin, GPIO_PIN_RESET);

  /*Configure GPIO pin Output Level */
  HAL_GPIO_WritePin(Wifi_EN_GPIO_Port, Wifi_EN_Pin, GPIO_PIN_RESET);

  /*Configure GPIO pin : B1_Pin */
  GPIO_InitStruct.Pin = B1_Pin;
  GPIO_InitStruct.Mode = GPIO_MODE_IT_FALLING;
  GPIO_InitStruct.Pull = GPIO_NOPULL;
  HAL_GPIO_Init(B1_GPIO_Port, &GPIO_InitStruct);

  /*Configure GPIO pin : LD2_Pin */
  GPIO_InitStruct.Pin = LD2_Pin;
  GPIO_InitStruct.Mode = GPIO_MODE_OUTPUT_PP;
  GPIO_InitStruct.Pull = GPIO_NOPULL;
  GPIO_InitStruct.Speed = GPIO_SPEED_FREQ_LOW;
  HAL_GPIO_Init(LD2_GPIO_Port, &GPIO_InitStruct);

  /*Configure GPIO pins : INT_MAX30102_Pin Reset_Button_Pin */
  GPIO_InitStruct.Pin = INT_MAX30102_Pin|Reset_Button_Pin;
  GPIO_InitStruct.Mode = GPIO_MODE_IT_FALLING;
  GPIO_InitStruct.Pull = GPIO_PULLUP;
  HAL_GPIO_Init(GPIOA, &GPIO_InitStruct);

  /*Configure GPIO pin : Wifi_EN_Pin */
  GPIO_InitStruct.Pin = Wifi_EN_Pin;
  GPIO_InitStruct.Mode = GPIO_MODE_OUTPUT_PP;
  GPIO_InitStruct.Pull = GPIO_NOPULL;
  GPIO_InitStruct.Speed = GPIO_SPEED_FREQ_LOW;
  HAL_GPIO_Init(Wifi_EN_GPIO_Port, &GPIO_InitStruct);

  /* EXTI interrupt init*/
  HAL_NVIC_SetPriority(EXTI4_15_IRQn, 0, 0);
  HAL_NVIC_EnableIRQ(EXTI4_15_IRQn);

}

/* USER CODE BEGIN 4 */
/* lcd bpm drawings */
void OLED_DrawFlatLine(void)
{
    ssd1306_Line(0, 56, 127, 56, White);
}

void OLED_DrawPulseLine(void)
{
    /* Left flat part */
    ssd1306_Line(0, 56, 35, 56, White);
    /* Small rise */
    ssd1306_Line(35, 56, 42, 48, White);
    /* Drop */
    ssd1306_Line(42, 48, 52, 63, White);
    /* Big peak */
    ssd1306_Line(52, 63, 66, 34, White);
    /* Fall after peak */
    ssd1306_Line(66, 34, 76, 60, White);
    /* Recovery */
    ssd1306_Line(76, 60, 95, 48, White);
    /* Back to flat */
    ssd1306_Line(95, 48, 105, 56, White);
    ssd1306_Line(105, 56, 127, 56, White);
}

void max30102_plot(uint32_t ir, uint32_t red)
{
    g_ir_value = ir;
    g_red_value = red;
    g_new_sample = 1;
}

void HAL_GPIO_EXTI_Callback(uint16_t GPIO_Pin)
{
    static uint32_t last_reset_btn_ms = 0;
    uint32_t now_ms;

    if (GPIO_Pin == INT_MAX30102_Pin)
    {
        max30102_on_interrupt(&max30102);
    }
    else if (GPIO_Pin == Reset_Button_Pin)
    {
        now_ms = HAL_GetTick();

        if ((now_ms - last_reset_btn_ms) >= 200U)
        {
            btn_pressed = 1;
            last_reset_btn_ms = now_ms;
        }
    }
}

void Buzzer_Off(void)
{
    __HAL_TIM_SET_COMPARE(&htim22, TIM_CHANNEL_2, 0);
}

void Buzzer_SetToneHz(uint32_t freq_hz)
{
    uint32_t tim_clk;
    uint32_t arr;
    uint32_t duty;

    if (freq_hz == 0U)
    {
        Buzzer_Off();
        return;
    }

    /*
     * TIM22 runs from PCLK2.
     * Prescaler = 15, so timer counter clock = PCLK2 / 16.
     */
    tim_clk = HAL_RCC_GetPCLK2Freq();

    arr = tim_clk / ((htim22.Init.Prescaler + 1U) * freq_hz);

    if (arr > 0U)
    {
        arr -= 1U;
    }

    if (arr < 20U)
    {
        arr = 20U;
    }

    if (arr > 65535U)
    {
        arr = 65535U;
    }

    __HAL_TIM_SET_AUTORELOAD(&htim22, arr);

    duty = (arr + 1U) / 2U;
    __HAL_TIM_SET_COMPARE(&htim22, TIM_CHANNEL_2, duty);
}

void Buzzer_StartMelodyStart(void)
{
    buzzer_mode = BUZZER_MELODY_START;
    buzzer_note_index = 0;
    buzzer_step_start_ms = HAL_GetTick();
    buzzer_bpm_on = 0;
    Buzzer_Off();
}

void Buzzer_StartRunningBpm(void)
{
    buzzer_mode = BUZZER_RUNNING_BPM;
    buzzer_bpm_last_ms = HAL_GetTick();
    buzzer_bpm_on_start_ms = 0;
    buzzer_bpm_on = 0;
    Buzzer_Off();
}

void Buzzer_StartEndBeep(void)
{
    buzzer_mode = BUZZER_END_BEEP;
    buzzer_beep_start_ms = HAL_GetTick();
    Buzzer_SetToneHz(4000U);
}

void Buzzer_StartMelodyFinish(void)
{
    buzzer_mode = BUZZER_MELODY_FINISH;
    buzzer_note_index = 0;
    buzzer_step_start_ms = HAL_GetTick();
    buzzer_bpm_on = 0;
    Buzzer_Off();
}

void Buzzer_Task(void)
{
    uint32_t now_ms;
    uint32_t elapsed_ms;
    uint32_t beat_period_ms;

    now_ms = HAL_GetTick();

    if ((buzzer_mode == BUZZER_MELODY_START) ||
        (buzzer_mode == BUZZER_MELODY_FINISH))
    {
        if (buzzer_note_index >= FUR_ELISE_NOTE_COUNT)
        {
            if (buzzer_mode == BUZZER_MELODY_START)
            {
                Buzzer_StartRunningBpm();
            }
            else
            {
                buzzer_mode = BUZZER_IDLE;
                Buzzer_Off();
            }

            return;
        }

        elapsed_ms = now_ms - buzzer_step_start_ms;

        Buzzer_SetToneHz(fur_elise_start[buzzer_note_index].freq_hz);

        if (elapsed_ms >= fur_elise_start[buzzer_note_index].duration_ms)
        {
            buzzer_note_index++;
            buzzer_step_start_ms = now_ms;
            Buzzer_Off();
        }

        return;
    }

    if (buzzer_mode == BUZZER_RUNNING_BPM)
    {
        if ((test_state != TEST_RUNNING) || (bpm_avg == 0U))
        {
            Buzzer_Off();
            return;
        }

        beat_period_ms = 60000U / bpm_avg;

        if ((buzzer_bpm_on == 0U) &&
            ((now_ms - buzzer_bpm_last_ms) >= beat_period_ms))
        {
            buzzer_bpm_last_ms = now_ms;
            buzzer_bpm_on_start_ms = now_ms;
            buzzer_bpm_on = 1U;

            Buzzer_SetToneHz(BUZZER_BPM_TONE_HZ);
        }

        if ((buzzer_bpm_on == 1U) &&
            ((now_ms - buzzer_bpm_on_start_ms) >= BUZZER_PULSE_MS))
        {
            buzzer_bpm_on = 0U;
            Buzzer_Off();
        }

        return;
    }

    if (buzzer_mode == BUZZER_END_BEEP)
    {
        if ((now_ms - buzzer_beep_start_ms) >= 1000U)
        {
            buzzer_mode = BUZZER_IDLE;
            Buzzer_Off();
        }
        return;
    }

    Buzzer_Off();
}

void Pulse_Reset(void)
{
    ir_baseline = g_ir_value;
    red_baseline = g_red_value;
    ac_prev2 = ac_prev1 = ac_curr = 0;
    ac_filt = ac_filt_prev2 = ac_filt_prev1 = ac_filt_curr = 0;

    red_ac_curr = red_ac_filt = red_ac_filt_curr = 0;

    ac_abs_avg = 0;
    red_ac_abs_avg = 0;
    valley_threshold = 50;

    settle_count = 0;

    last_beat_time_ms = 0;
    beat_interval_ms = 0;
    mean_beat_interval_ms = 0;

    bpm_inst = 0;
    bpm_avg = 0;
    spo2_x10 = 0;

    total_bpm_sum = 0;
    total_beat_count = 0;
    reached_70_bpm = 0; // Reset condition parameter
    consecutive_low_count = 0;
    consecutive_high_count = 0;
    recovery_timer_ms = 0; // Reset recovery timer

    bpm_hist_idx = 0;
    bpm_hist_count = 0;

    pulse_latched = 0;

    beat_ir_sum = 0;
    beat_red_sum = 0;
    beat_sample_count = 0;

    beat_ir_min = 0xFFFFFFFFU;
    beat_ir_max = 0;
    beat_red_min = 0xFFFFFFFFU;
    beat_red_max = 0;
}
/* USER CODE END 4 */

void Error_Handler(void)
{
  __disable_irq();
  while (1)
  {
  }
}
